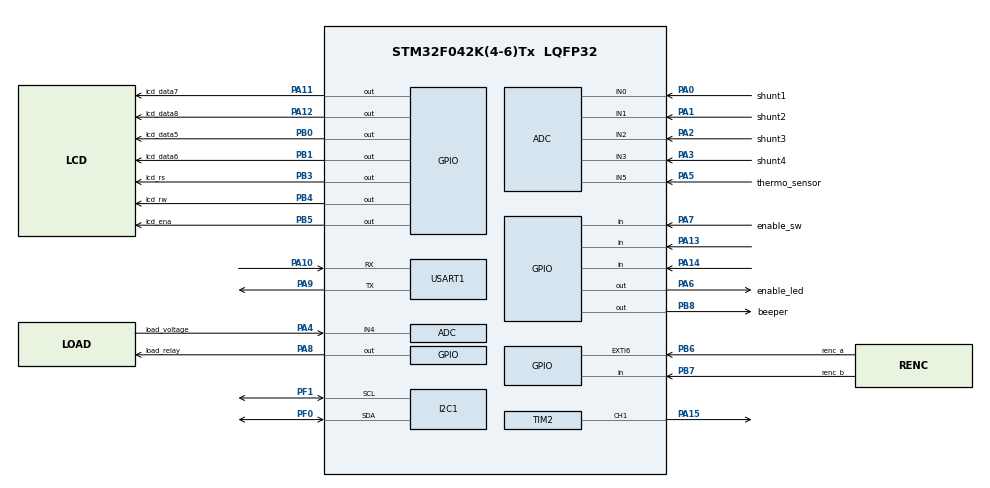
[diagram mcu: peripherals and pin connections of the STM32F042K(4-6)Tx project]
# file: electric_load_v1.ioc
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ADC.ClockPrescaler=ADC_CLOCK_SYNC_PCLK_DIV4
ADC.ContinuousConvMode=DISABLE
ADC.DMAContinuousRequests=ENABLE
ADC.EOCSelection=ADC_EOC_SEQ_CONV
ADC.ExternalTrigConv=ADC_EXTERNALTRIGCONV_T1_TRGO
Dma.ADC.0.Direction=DMA_PERIPH_TO_MEMORY
Dma.ADC.0.Instance=DMA1_Channel1
Dma.ADC.0.MemDataAlignment=DMA_MDATAALIGN_HALFWORD
Dma.ADC.0.MemInc=DMA_MINC_ENABLE
Dma.ADC.0.Mode=DMA_CIRCULAR
Dma.ADC.0.PeriphDataAlignment=DMA_PDATAALIGN_HALFWORD
Dma.ADC.0.PeriphInc=DMA_PINC_DISABLE
Dma.ADC.0.Priority=DMA_PRIORITY_LOW
Dma.Request0=ADC
Mcu.Family=STM32F0
Mcu.Name=STM32F042K(4-6)Tx
Mcu.Package=LQFP32
NVIC.ADC1_IRQn=true\:1\:0\:true\:false\:true\:true\:true
NVIC.DMA1_Channel1_IRQn=true\:2\:0\:true\:false\:true\:false\:true
NVIC.EXTI4_15_IRQn=true\:3\:0\:true\:false\:true\:true\:true
NVIC.TIM1_BRK_UP_TRG_COM_IRQn=true\:0\:0\:true\:false\:true\:true\:true
PA0.GPIO_Label=shunt1
PA0.Mode=IN0
PA0.Signal=ADC_IN0
PA1.GPIO_Label=shunt2
PA1.Mode=IN1
PA1.Signal=ADC_IN1
PA10.Mode=Asynchronous
PA10.Signal=USART1_RX
PA11.GPIO_Label=lcd_data7
PA11.Signal=GPIO_Output
PA12.GPIO_Label=lcd_data8
PA12.Signal=GPIO_Output
PA13.Signal=GPIO_Input
PA14.Signal=GPIO_Input
PA15.Signal=S_TIM2_CH1_ETR
PA2.GPIO_Label=shunt3
PA2.Mode=IN2
PA2.Signal=ADC_IN2
PA3.GPIO_Label=shunt4
PA3.Mode=IN3
PA3.Signal=ADC_IN3
PA4.GPIO_Label=load_voltage
PA4.Mode=IN4
PA4.Signal=ADC_IN4
PA5.GPIO_Label=thermo_sensor
PA5.Mode=IN5
PA5.Signal=ADC_IN5
PA6.GPIO_Label=enable_led
PA6.Signal=GPIO_Output
PA7.GPIO_Label=enable_sw
PA7.Signal=GPIO_Input
PA8.GPIO_Label=load_relay
PA8.Signal=GPIO_Output
PA9.Mode=Asynchronous
PA9.Signal=USART1_TX
PB0.GPIO_Label=lcd_data5
PB0.Signal=GPIO_Output
PB1.GPIO_Label=lcd_data6
PB1.Signal=GPIO_Output
PB3.GPIO_Label=lcd_rs
PB3.Signal=GPIO_Output
PB4.GPIO_Label=lcd_rw
PB4.Signal=GPIO_Output
PB5.GPIO_Label=lcd_ena
PB5.Signal=GPIO_Output
PB6.GPIO_Label=renc_a
PB6.GPIO_ModeDefaultEXTI=GPIO_MODE_IT_RISING
PB6.GPIO_PuPd=GPIO_NOPULL
PB6.Signal=GPXTI6
PB7.GPIO_Label=renc_b
PB7.GPIO_PuPd=GPIO_NOPULL
PB7.Signal=GPIO_Input
PB8.GPIO_Label=beeper
PB8.Signal=GPIO_Output
PF0-OSC_IN.Mode=I2C
PF0-OSC_IN.Signal=I2C1_SDA
PF1-OSC_OUT.Mode=I2C
PF1-OSC_OUT.Signal=I2C1_SCL
ProjectManager.HeapSize=0x200
ProjectManager.StackSize=0x400
ProjectManager.TargetToolchain=STM32CubeIDE
SH.S_TIM2_CH1_ETR.0=TIM2_CH1,PWM Generation1 CH1
TIM1.ClockDivision=TIM_CLOCKDIVISION_DIV1
TIM1.Period=799
TIM1.Prescaler=9999
TIM1.TIM_MasterOutputTrigger=TIM_TRGO_UPDATE
TIM2.Channel-PWM\ Generation1\ CH1=TIM_CHANNEL_1
USART1.VirtualMode-Asynchronous=VM_ASYNC
VP_ADC_TempSens_Input.Mode=IN-TempSens
VP_TIM1_VS_ClockSourceINT.Mode=Internal
VP_TIM2_VS_ClockSourceINT.Mode=Internal
board=custom

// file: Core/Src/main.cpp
/* USER CODE BEGIN Header */
/**
  ******************************************************************************
  * @file           : main.c
  * @brief          : Main program body
  ******************************************************************************
  * @attention
  *
  * <h2><center>&copy; Copyright (c) 2021 STMicroelectronics.
  * All rights reserved.</center></h2>
  *
  * This software component is licensed by ST under BSD 3-Clause license,
  * the "License"; You may not use this file except in compliance with the
  * License. You may obtain a copy of the License at:
  *                        opensource.org/licenses/BSD-3-Clause
  *
  ******************************************************************************
  */
/* USER CODE END Header */
#include "main.h"

/* USER CODE BEGIN Includes */
#include <stdio.h>
#include "mcp47x6.hpp"
#include "hd44780.hpp"
#include "rotaryencoder.hpp"
/* USER CODE END Includes */

/* USER CODE BEGIN PD */
#ifdef __GNUC__
#define PUTCHAR_PROTOTYPE int __io_putchar(int ch)
#else
#define PUTCHAR_PROTOTYPE int fputc(int ch, FILE *f)
#endif /* __GNUC__ */

#define DEBUG
#define ADC_CHAN_NUM 7
#define KP 0.1
#define KI 0.1
/* USER CODE END PD */

ADC_HandleTypeDef hadc;
DMA_HandleTypeDef hdma_adc;

I2C_HandleTypeDef hi2c1;

TIM_HandleTypeDef htim1;
TIM_HandleTypeDef htim2;

UART_HandleTypeDef huart1;

/* USER CODE BEGIN PV */
static uint16_t adcData[ADC_CHAN_NUM];
RotaryEncoder renc(GPIOB, GPIO_PIN_7);
Mcp47x6 dac(&hi2c1);
static int incremental = 0;
/* USER CODE END PV */

void SystemClock_Config(void);
static void MX_GPIO_Init(void);
static void MX_DMA_Init(void);
static void MX_USART1_UART_Init(void);
static void MX_ADC_Init(void);
static void MX_I2C1_Init(void);
static void MX_TIM1_Init(void);
static void MX_TIM2_Init(void);
/* USER CODE BEGIN PFP */
void update_command_value(void);
/* USER CODE END PFP */

int main(void)
{
  /* USER CODE BEGIN 1 */
  setbuf(stdout, NULL);
  /* USER CODE END 1 */

  /* MCU Configuration--------------------------------------------------------*/

  /* Reset of all peripherals, Initializes the Flash interface and the Systick. */
  HAL_Init();

  /* Configure the system clock */
  SystemClock_Config();

  /* Initialize all configured peripherals */
  MX_GPIO_Init();
  MX_DMA_Init();
  MX_USART1_UART_Init();
  MX_ADC_Init();
  MX_I2C1_Init();
  MX_TIM1_Init();
  MX_TIM2_Init();
  /* USER CODE BEGIN 2 */
  GPIO_TypeDef* dataPorts[] = {GPIOB, GPIOB, GPIOA, GPIOA};
  uint16_t dataPins[] = {GPIO_PIN_0, GPIO_PIN_1, GPIO_PIN_11, GPIO_PIN_12};

  Hd44780 lcd(LCD_4BITMODE,
              GPIOB, GPIO_PIN_3,
              GPIOB, GPIO_PIN_4,
              GPIOB, GPIO_PIN_5,
              dataPorts, dataPins);

  printf("booting...\r\n"
         "Electric Load v1\r\n"
         "Designed by FKF Tech.\r\n"
         "Developer: JP7FKF\r\n"
         "Initializing...\r\n");

  lcd.Init();
  lcd.SetCursor(0, 0);
  lcd.Puts("Electric Load v1");
  lcd.SetCursor(1, 0);
  lcd.Puts(" -- FKF Tech -- ");
  HAL_Delay(800);
  lcd.SetCursor(1, 0);
  lcd.Puts("Initializing...");
//  HAL_Delay(1500);
  lcd.Clear();
  lcd.SetCursor(0, 0);
  lcd.Puts("Mode: CC    0.0A");
  lcd.SetCursor(1, 0);
  lcd.Puts(" 0.0V/ 0.0A/  0W");

  //  if(HAL_ADCEx_Calibration_Start(&hadc) != HAL_OK)
  //    Error_Handler();
  HAL_ADC_Start_DMA(&hadc,(uint32_t *)adcData, ADC_CHAN_NUM);
  HAL_TIM_Base_Start_IT(&htim1);
  int volt = 0;
  bool flag = true;
  char buf[16];
  /* USER CODE END 2 */

  /* Infinite loop */
  /* USER CODE BEGIN WHILE */
  while (1)
  {
    lcd.SetCursor(0, 12);
    sprintf(buf, "%3d", incremental);
    lcd.Puts(buf);
    if (flag)
    {
  //    volt += 50;
      volt = 4095;
      if(volt >= 4095){
     volt = 4095;
     flag = false;
      }
    }else{
  //    volt -= 50;
      volt = -1;
      if(volt<0){
     volt = 0;
     flag = true;
      }
    }
    dac.SetDacOut(incremental);

//  HAL_GPIO_TogglePin(GPIOB, beeper_Pin);
//  HAL_Delay(1000);
#ifdef DEBUG
//  printf("[DEBUG]: hoge!\r\n");
    // printf("[DEBUG]: adc: %d\r\n", adcData[0]);
#endif
    /* USER CODE END WHILE */

  }
}

void SystemClock_Config(void)
{
  RCC_OscInitTypeDef RCC_OscInitStruct = {0};
  RCC_ClkInitTypeDef RCC_ClkInitStruct = {0};
  RCC_PeriphCLKInitTypeDef PeriphClkInit = {0};

  /** Initializes the RCC Oscillators according to the specified parameters
  * in the RCC_OscInitTypeDef structure.
  */
  RCC_OscInitStruct.OscillatorType = RCC_OSCILLATORTYPE_HSI;
  RCC_OscInitStruct.HSIState = RCC_HSI_ON;
  RCC_OscInitStruct.HSICalibrationValue = RCC_HSICALIBRATION_DEFAULT;
  RCC_OscInitStruct.PLL.PLLState = RCC_PLL_NONE;
  if (HAL_RCC_OscConfig(&RCC_OscInitStruct) != HAL_OK)
  {
    Error_Handler();
  }
  /** Initializes the CPU, AHB and APB buses clocks
  */
  RCC_ClkInitStruct.ClockType = RCC_CLOCKTYPE_HCLK|RCC_CLOCKTYPE_SYSCLK
                              |RCC_CLOCKTYPE_PCLK1;
  RCC_ClkInitStruct.SYSCLKSource = RCC_SYSCLKSOURCE_HSI;
  RCC_ClkInitStruct.AHBCLKDivider = RCC_SYSCLK_DIV1;
  RCC_ClkInitStruct.APB1CLKDivider = RCC_HCLK_DIV1;

  if (HAL_RCC_ClockConfig(&RCC_ClkInitStruct, FLASH_LATENCY_0) != HAL_OK)
  {
    Error_Handler();
  }
  PeriphClkInit.PeriphClockSelection = RCC_PERIPHCLK_USART1|RCC_PERIPHCLK_I2C1;
  PeriphClkInit.Usart1ClockSelection = RCC_USART1CLKSOURCE_PCLK1;
  PeriphClkInit.I2c1ClockSelection = RCC_I2C1CLKSOURCE_HSI;
  if (HAL_RCCEx_PeriphCLKConfig(&PeriphClkInit) != HAL_OK)
  {
    Error_Handler();
  }
}

static void MX_ADC_Init(void)
{

  ADC_ChannelConfTypeDef sConfig = {0};

  /** Configure the global features of the ADC (Clock, Resolution, Data Alignment and number of conversion)
  */
  hadc.Instance = ADC1;
  hadc.Init.ClockPrescaler = ADC_CLOCK_SYNC_PCLK_DIV4;
  hadc.Init.Resolution = ADC_RESOLUTION_12B;
  hadc.Init.DataAlign = ADC_DATAALIGN_RIGHT;
  hadc.Init.ScanConvMode = ADC_SCAN_DIRECTION_FORWARD;
  hadc.Init.EOCSelection = ADC_EOC_SEQ_CONV;
  hadc.Init.LowPowerAutoWait = DISABLE;
  hadc.Init.LowPowerAutoPowerOff = DISABLE;
  hadc.Init.ContinuousConvMode = DISABLE;
  hadc.Init.DiscontinuousConvMode = DISABLE;
  hadc.Init.ExternalTrigConv = ADC_EXTERNALTRIGCONV_T1_TRGO;
  hadc.Init.ExternalTrigConvEdge = ADC_EXTERNALTRIGCONVEDGE_RISING;
  hadc.Init.DMAContinuousRequests = ENABLE;
  hadc.Init.Overrun = ADC_OVR_DATA_PRESERVED;
  if (HAL_ADC_Init(&hadc) != HAL_OK)
  {
    Error_Handler();
  }
  /** Configure for the selected ADC regular channel to be converted.
  */
  sConfig.Channel = ADC_CHANNEL_0;
  sConfig.Rank = ADC_RANK_CHANNEL_NUMBER;
  sConfig.SamplingTime = ADC_SAMPLETIME_1CYCLE_5;
  if (HAL_ADC_ConfigChannel(&hadc, &sConfig) != HAL_OK)
  {
    Error_Handler();
  }
  /** Configure for the selected ADC regular channel to be converted.
  */
  sConfig.Channel = ADC_CHANNEL_1;
  if (HAL_ADC_ConfigChannel(&hadc, &sConfig) != HAL_OK)
  {
    Error_Handler();
  }
  /** Configure for the selected ADC regular channel to be converted.
  */
  sConfig.Channel = ADC_CHANNEL_2;
  if (HAL_ADC_ConfigChannel(&hadc, &sConfig) != HAL_OK)
  {
    Error_Handler();
  }
  /** Configure for the selected ADC regular channel to be converted.
  */
  sConfig.Channel = ADC_CHANNEL_3;
  if (HAL_ADC_ConfigChannel(&hadc, &sConfig) != HAL_OK)
  {
    Error_Handler();
  }
  /** Configure for the selected ADC regular channel to be converted.
  */
  sConfig.Channel = ADC_CHANNEL_4;
  if (HAL_ADC_ConfigChannel(&hadc, &sConfig) != HAL_OK)
  {
    Error_Handler();
  }
  /** Configure for the selected ADC regular channel to be converted.
  */
  sConfig.Channel = ADC_CHANNEL_5;
  if (HAL_ADC_ConfigChannel(&hadc, &sConfig) != HAL_OK)
  {
    Error_Handler();
  }
  /** Configure for the selected ADC regular channel to be converted.
  */
  sConfig.Channel = ADC_CHANNEL_TEMPSENSOR;
  if (HAL_ADC_ConfigChannel(&hadc, &sConfig) != HAL_OK)
  {
    Error_Handler();
  }

}

static void MX_I2C1_Init(void)
{

  hi2c1.Instance = I2C1;
  hi2c1.Init.Timing = 0x2000090E;
  hi2c1.Init.OwnAddress1 = 0;
  hi2c1.Init.AddressingMode = I2C_ADDRESSINGMODE_7BIT;
  hi2c1.Init.DualAddressMode = I2C_DUALADDRESS_DISABLE;
  hi2c1.Init.OwnAddress2 = 0;
  hi2c1.Init.OwnAddress2Masks = I2C_OA2_NOMASK;
  hi2c1.Init.GeneralCallMode = I2C_GENERALCALL_DISABLE;
  hi2c1.Init.NoStretchMode = I2C_NOSTRETCH_DISABLE;
  if (HAL_I2C_Init(&hi2c1) != HAL_OK)
  {
    Error_Handler();
  }
  /** Configure Analogue filter
  */
  if (HAL_I2CEx_ConfigAnalogFilter(&hi2c1, I2C_ANALOGFILTER_ENABLE) != HAL_OK)
  {
    Error_Handler();
  }
  /** Configure Digital filter
  */
  if (HAL_I2CEx_ConfigDigitalFilter(&hi2c1, 0) != HAL_OK)
  {
    Error_Handler();
  }

}

static void MX_TIM1_Init(void)
{

  TIM_ClockConfigTypeDef sClockSourceConfig = {0};
  TIM_MasterConfigTypeDef sMasterConfig = {0};

  htim1.Instance = TIM1;
  htim1.Init.Prescaler = 9999;
  htim1.Init.CounterMode = TIM_COUNTERMODE_UP;
  htim1.Init.Period = 799;
  htim1.Init.ClockDivision = TIM_CLOCKDIVISION_DIV1;
  htim1.Init.RepetitionCounter = 0;
  htim1.Init.AutoReloadPreload = TIM_AUTORELOAD_PRELOAD_DISABLE;
  if (HAL_TIM_Base_Init(&htim1) != HAL_OK)
  {
    Error_Handler();
  }
  sClockSourceConfig.ClockSource = TIM_CLOCKSOURCE_INTERNAL;
  if (HAL_TIM_ConfigClockSource(&htim1, &sClockSourceConfig) != HAL_OK)
  {
    Error_Handler();
  }
  sMasterConfig.MasterOutputTrigger = TIM_TRGO_UPDATE;
  sMasterConfig.MasterSlaveMode = TIM_MASTERSLAVEMODE_DISABLE;
  if (HAL_TIMEx_MasterConfigSynchronization(&htim1, &sMasterConfig) != HAL_OK)
  {
    Error_Handler();
  }

}

static void MX_TIM2_Init(void)
{

  TIM_ClockConfigTypeDef sClockSourceConfig = {0};
  TIM_MasterConfigTypeDef sMasterConfig = {0};
  TIM_OC_InitTypeDef sConfigOC = {0};

  htim2.Instance = TIM2;
  htim2.Init.Prescaler = 0;
  htim2.Init.CounterMode = TIM_COUNTERMODE_UP;
  htim2.Init.Period = 4294967295;
  htim2.Init.ClockDivision = TIM_CLOCKDIVISION_DIV1;
  htim2.Init.AutoReloadPreload = TIM_AUTORELOAD_PRELOAD_DISABLE;
  if (HAL_TIM_Base_Init(&htim2) != HAL_OK)
  {
    Error_Handler();
  }
  sClockSourceConfig.ClockSource = TIM_CLOCKSOURCE_INTERNAL;
  if (HAL_TIM_ConfigClockSource(&htim2, &sClockSourceConfig) != HAL_OK)
  {
    Error_Handler();
  }
  if (HAL_TIM_PWM_Init(&htim2) != HAL_OK)
  {
    Error_Handler();
  }
  sMasterConfig.MasterOutputTrigger = TIM_TRGO_RESET;
  sMasterConfig.MasterSlaveMode = TIM_MASTERSLAVEMODE_DISABLE;
  if (HAL_TIMEx_MasterConfigSynchronization(&htim2, &sMasterConfig) != HAL_OK)
  {
    Error_Handler();
  }
  sConfigOC.OCMode = TIM_OCMODE_PWM1;
  sConfigOC.Pulse = 0;
  sConfigOC.OCPolarity = TIM_OCPOLARITY_HIGH;
  sConfigOC.OCFastMode = TIM_OCFAST_DISABLE;
  if (HAL_TIM_PWM_ConfigChannel(&htim2, &sConfigOC, TIM_CHANNEL_1) != HAL_OK)
  {
    Error_Handler();
  }
  HAL_TIM_MspPostInit(&htim2);

}

static void MX_USART1_UART_Init(void)
{

  huart1.Instance = USART1;
  huart1.Init.BaudRate = 38400;
  huart1.Init.WordLength = UART_WORDLENGTH_8B;
  huart1.Init.StopBits = UART_STOPBITS_1;
  huart1.Init.Parity = UART_PARITY_NONE;
  huart1.Init.Mode = UART_MODE_TX_RX;
  huart1.Init.HwFlowCtl = UART_HWCONTROL_NONE;
  huart1.Init.OverSampling = UART_OVERSAMPLING_16;
  huart1.Init.OneBitSampling = UART_ONE_BIT_SAMPLE_DISABLE;
  huart1.AdvancedInit.AdvFeatureInit = UART_ADVFEATURE_NO_INIT;
  if (HAL_UART_Init(&huart1) != HAL_OK)
  {
    Error_Handler();
  }

}

static void MX_DMA_Init(void)
{

  /* DMA controller clock enable */
  __HAL_RCC_DMA1_CLK_ENABLE();

  /* DMA interrupt init */
  /* DMA1_Channel1_IRQn interrupt configuration */
  HAL_NVIC_SetPriority(DMA1_Channel1_IRQn, 2, 0);
  HAL_NVIC_EnableIRQ(DMA1_Channel1_IRQn);

}

static void MX_GPIO_Init(void)
{
  GPIO_InitTypeDef GPIO_InitStruct = {0};

  /* GPIO Ports Clock Enable */
  __HAL_RCC_GPIOF_CLK_ENABLE();
  __HAL_RCC_GPIOA_CLK_ENABLE();
  __HAL_RCC_GPIOB_CLK_ENABLE();

  /*Configure GPIO pin Output Level */
  HAL_GPIO_WritePin(GPIOA, enable_led_Pin|load_relay_Pin|lcd_data7_Pin|lcd_data8_Pin, GPIO_PIN_RESET);

  /*Configure GPIO pin Output Level */
  HAL_GPIO_WritePin(GPIOB, lcd_data5_Pin|lcd_data6_Pin|lcd_rs_Pin|lcd_rw_Pin
                          |lcd_ena_Pin|beeper_Pin, GPIO_PIN_RESET);

  /*Configure GPIO pins : enable_led_Pin load_relay_Pin lcd_data7_Pin lcd_data8_Pin */
  GPIO_InitStruct.Pin = enable_led_Pin|load_relay_Pin|lcd_data7_Pin|lcd_data8_Pin;
  GPIO_InitStruct.Mode = GPIO_MODE_OUTPUT_PP;
  GPIO_InitStruct.Pull = GPIO_NOPULL;
  GPIO_InitStruct.Speed = GPIO_SPEED_FREQ_LOW;
  HAL_GPIO_Init(GPIOA, &GPIO_InitStruct);

  /*Configure GPIO pins : enable_sw_Pin PA13 PA14 */
  GPIO_InitStruct.Pin = enable_sw_Pin|GPIO_PIN_13|GPIO_PIN_14;
  GPIO_InitStruct.Mode = GPIO_MODE_INPUT;
  GPIO_InitStruct.Pull = GPIO_NOPULL;
  HAL_GPIO_Init(GPIOA, &GPIO_InitStruct);

  /*Configure GPIO pins : lcd_data5_Pin lcd_data6_Pin lcd_rs_Pin lcd_rw_Pin
                           lcd_ena_Pin beeper_Pin */
  GPIO_InitStruct.Pin = lcd_data5_Pin|lcd_data6_Pin|lcd_rs_Pin|lcd_rw_Pin
                          |lcd_ena_Pin|beeper_Pin;
  GPIO_InitStruct.Mode = GPIO_MODE_OUTPUT_PP;
  GPIO_InitStruct.Pull = GPIO_NOPULL;
  GPIO_InitStruct.Speed = GPIO_SPEED_FREQ_LOW;
  HAL_GPIO_Init(GPIOB, &GPIO_InitStruct);

  /*Configure GPIO pin : renc_a_Pin */
  GPIO_InitStruct.Pin = renc_a_Pin;
  GPIO_InitStruct.Mode = GPIO_MODE_IT_RISING;
  GPIO_InitStruct.Pull = GPIO_NOPULL;
  HAL_GPIO_Init(renc_a_GPIO_Port, &GPIO_InitStruct);

  /*Configure GPIO pin : renc_b_Pin */
  GPIO_InitStruct.Pin = renc_b_Pin;
  GPIO_InitStruct.Mode = GPIO_MODE_INPUT;
  GPIO_InitStruct.Pull = GPIO_NOPULL;
  HAL_GPIO_Init(renc_b_GPIO_Port, &GPIO_InitStruct);

  /* EXTI interrupt init*/
  HAL_NVIC_SetPriority(EXTI4_15_IRQn, 3, 0);
  HAL_NVIC_EnableIRQ(EXTI4_15_IRQn);

}

/* USER CODE BEGIN 4 */
/* C++ detection */
#ifdef __cplusplus
extern "C" {
#endif
int __io_putchar(int ch) {
  HAL_UART_Transmit(&huart1, (uint8_t *)&ch, 1, 100);
  return ch;
}
/* C++ detection */
#ifdef __cplusplus
}
#endif

void HAL_GPIO_EXTI_Callback(uint16_t GPIO_Pin){
  if (GPIO_Pin == GPIO_PIN_6){
    incremental = renc.GetIncrementedValue(incremental, 10);
  // printf("EXTI callback called!\r\n");
 //    printf("gpio6!\r\n");
 //    printf("dir: %d\r\n", incremental);
  }
}

void HAL_ADC_ConvCpltCallback(ADC_HandleTypeDef *AdcHandle){
#ifdef DEBUG
  // printf("[DEBUG]: ADC callback\r\n");
  update_command_value();
//  for(int i=0;i<ADC_CHAN_NUM;i++){
//    printf("[DEBUG]: adc%d: %d\r\n", i, adcData[i]);
//  }
#endif
}

void update_command_value(){
  int command_value = 0;
}
/* USER CODE END 4 */

void Error_Handler(void)
{
  /* USER CODE BEGIN Error_Handler_Debug */
  // TODO: GPIO control(Safe Relay OPEN)
  printf("HAL API Error Occurred!\r\n");
  /* User can add his own implementation to report the HAL error return state */
  __disable_irq();
  while (1)
  {
  }
  /* USER CODE END Error_Handler_Debug */
}

/************************ (C) COPYRIGHT STMicroelectronics *****END OF FILE****/
